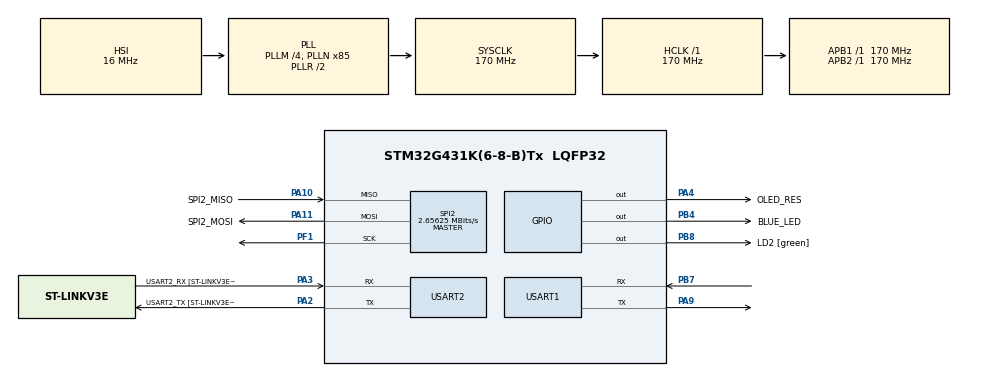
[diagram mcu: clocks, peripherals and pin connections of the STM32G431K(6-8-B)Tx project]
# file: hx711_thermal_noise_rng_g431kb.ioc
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Dma.Request0=SPI2_RX
Dma.Request1=SPI2_TX
Dma.SPI2_RX.0.Direction=DMA_PERIPH_TO_MEMORY
Dma.SPI2_RX.0.EventEnable=DISABLE
Dma.SPI2_RX.0.Instance=DMA1_Channel1
Dma.SPI2_RX.0.MemDataAlignment=DMA_MDATAALIGN_BYTE
Dma.SPI2_RX.0.MemInc=DMA_MINC_ENABLE
Dma.SPI2_RX.0.Mode=DMA_NORMAL
Dma.SPI2_RX.0.PeriphDataAlignment=DMA_PDATAALIGN_BYTE
Dma.SPI2_RX.0.PeriphInc=DMA_PINC_DISABLE
Dma.SPI2_RX.0.Polarity=HAL_DMAMUX_REQ_GEN_RISING
Dma.SPI2_RX.0.Priority=DMA_PRIORITY_LOW
Dma.SPI2_RX.0.RequestNumber=1
Dma.SPI2_RX.0.SignalID=NONE
Dma.SPI2_RX.0.SyncEnable=DISABLE
Dma.SPI2_RX.0.SyncPolarity=HAL_DMAMUX_SYNC_NO_EVENT
Dma.SPI2_RX.0.SyncRequestNumber=1
Dma.SPI2_RX.0.SyncSignalID=NONE
Dma.SPI2_TX.1.Direction=DMA_MEMORY_TO_PERIPH
Dma.SPI2_TX.1.EventEnable=DISABLE
Dma.SPI2_TX.1.Instance=DMA1_Channel2
Dma.SPI2_TX.1.MemDataAlignment=DMA_MDATAALIGN_BYTE
Dma.SPI2_TX.1.MemInc=DMA_MINC_ENABLE
Dma.SPI2_TX.1.Mode=DMA_NORMAL
Dma.SPI2_TX.1.PeriphDataAlignment=DMA_PDATAALIGN_BYTE
Dma.SPI2_TX.1.PeriphInc=DMA_PINC_DISABLE
Dma.SPI2_TX.1.Polarity=HAL_DMAMUX_REQ_GEN_RISING
Dma.SPI2_TX.1.Priority=DMA_PRIORITY_LOW
Dma.SPI2_TX.1.RequestNumber=1
Dma.SPI2_TX.1.SignalID=NONE
Dma.SPI2_TX.1.SyncEnable=DISABLE
Dma.SPI2_TX.1.SyncPolarity=HAL_DMAMUX_SYNC_NO_EVENT
Dma.SPI2_TX.1.SyncRequestNumber=1
Dma.SPI2_TX.1.SyncSignalID=NONE
Mcu.Family=STM32G4
Mcu.Name=STM32G431K(6-8-B)Tx
Mcu.Package=LQFP32
NVIC.DMA1_Channel1_IRQn=true\:0\:0\:false\:false\:true\:false\:true\:true
NVIC.DMA1_Channel2_IRQn=true\:0\:0\:false\:false\:true\:false\:true\:true
NVIC.PriorityGroup=NVIC_PRIORITYGROUP_4
NVIC.SPI2_IRQn=true\:0\:0\:false\:false\:true\:true\:true\:true
PA10.GPIO_Label=SPI2_MISO
PA10.Mode=Full_Duplex_Master
PA10.Signal=SPI2_MISO
PA11.GPIO_Label=SPI2_MOSI
PA11.Mode=Full_Duplex_Master
PA11.Signal=SPI2_MOSI
PA13.GPIO_Label=T_SWDIO
PA13.Mode=Serial_Wire
PA13.Signal=SYS_JTMS-SWDIO
PA14.GPIO_Label=T_SWCLK
PA14.Mode=Serial_Wire
PA14.Signal=SYS_JTCK-SWCLK
PA2.GPIO_Label=USART2_TX [ST-LINKV3E_VCP_RX]
PA2.Mode=Asynchronous
PA2.Signal=USART2_TX
PA3.GPIO_Label=USART2_RX [ST-LINKV3E_VCP_TX]
PA3.Mode=Asynchronous
PA3.Signal=USART2_RX
PA4.GPIO_Label=OLED_RES
PA4.Signal=GPIO_Output
PA9.Mode=Asynchronous
PA9.Signal=USART1_TX
PB3.GPIO_Label=T_SWO
PB3.Signal=SYS_JTDO-SWO
PB4.GPIO_Label=BLUE_LED
PB4.Signal=GPIO_Output
PB7.Mode=Asynchronous
PB7.Signal=USART1_RX
PB8-BOOT0.GPIO_Label=LD2 [green]
PB8-BOOT0.Signal=GPIO_Output
PF1-OSC_OUT.Mode=Full_Duplex_Master
PF1-OSC_OUT.Signal=SPI2_SCK
ProjectManager.HeapSize=0x200
ProjectManager.StackSize=0x400
ProjectManager.TargetToolchain=STM32CubeIDE
RCC.ADC12Freq_Value=170000000
RCC.AHBFreq_Value=170000000
RCC.APB1Freq_Value=170000000
RCC.APB1TimFreq_Value=170000000
RCC.APB2Freq_Value=170000000
RCC.APB2TimFreq_Value=170000000
RCC.CortexFreq_Value=170000000
RCC.EXTERNAL_CLOCK_VALUE=12288000
RCC.HCLKFreq_Value=170000000
RCC.HSE_VALUE=8000000
RCC.HSI48_VALUE=48000000
RCC.HSI_VALUE=16000000
RCC.LSE_VALUE=32768
RCC.PLLM=RCC_PLLM_DIV4
RCC.PLLN=85
RCC.SYSCLKFreq_VALUE=170000000
RCC.SYSCLKSource=RCC_SYSCLKSOURCE_PLLCLK
RCC.USBFreq_Value=170000000
RCC.VCOOutputFreq_Value=340000000
SPI2.BaudRatePrescaler=SPI_BAUDRATEPRESCALER_64
SPI2.CalculateBaudRate=2.65625 MBits/s
SPI2.DataSize=SPI_DATASIZE_8BIT
SPI2.Direction=SPI_DIRECTION_2LINES
SPI2.Mode=SPI_MODE_MASTER
SPI2.VirtualType=VM_MASTER
USART1.VirtualMode-Asynchronous=VM_ASYNC
USART2.VirtualMode-Asynchronous=VM_ASYNC
USART2.WordLength=WORDLENGTH_8B
VP_SYS_VS_DBSignals.Mode=DisableDeadBatterySignals
board=NUCLEO-G431KB

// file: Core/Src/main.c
/* USER CODE BEGIN Header */
/**
 ******************************************************************************
 * @file           : main.c
 * @brief          : Main program body
 ******************************************************************************
 * @attention
 *
 * Copyright (c) 2024 STMicroelectronics.
 * All rights reserved.
 *
 * This software is licensed under terms that can be found in the LICENSE file
 * in the root directory of this software component.
 * If no LICENSE file comes with this software, it is provided AS-IS.
 *
 ******************************************************************************
 */
/* USER CODE END Header */
#include "main.h"
#include "dma.h"
#include "spi.h"
#include "usart.h"
#include "gpio.h"

/* USER CODE BEGIN Includes */
#include <stdio.h>
#include <stdlib.h>
/* USER CODE END Includes */

/* USER CODE BEGIN PD */
#define BYTE_TO_BINARY(byte)  \
  (byte & 0x80 ? '1' : '0'), \
  (byte & 0x40 ? '1' : '0'), \
  (byte & 0x20 ? '1' : '0'), \
  (byte & 0x10 ? '1' : '0'), \
  (byte & 0x08 ? '1' : '0'), \
  (byte & 0x04 ? '1' : '0'), \
  (byte & 0x02 ? '1' : '0'), \
  (byte & 0x01 ? '1' : '0')

#define DEBUG_MESSAGE_PERIOD 1000
//#define DRAW_BELL_CURVE  // slows down rng
#define DEBUG_MESSAGE_UART &huart2

// No antenna attached
#define HISTOGRAM_OFFSET 1600
#define HISTOGRAM_BAR_WIDTH 8
// Antenna attached
//#define HISTOGRAM_OFFSET 380000
//#define HISTOGRAM_BAR_WIDTH 8000

#define HISTOGRAM_NUMBER_OF_BARS 32
#define HISTOGRAM_STAR_HEIGHT 32

#define NOT_TESTED_ENTROPY_EXTRACTOR
#define NUMBER_OF_LSB 4
#define RNG_STREAM_UART &huart1

/* USER CODE END PD */

/* USER CODE BEGIN PV */
uint8_t TxData[8] =
{ 0b0000000, 0x00000001, 0b01010101, 0b01010101, 0b01010101, 0b01010101,
		0b01010101, 0b01010101 };  // clock, 25 ticks
uint8_t RxData[8];
uint32_t adc_reading;
uint32_t adc_reading_previous;
uint32_t adc_reading_debug;

union
{
	uint32_t uint32_value;
	int32_t int32_value;
} uint2int_converter;

int32_t converted_reading;

uint8_t sensor_read_flag = 0;

uint8_t UartMessage[256];
uint16_t MessageLength;

uint32_t SoftTimerDebug;

uint32_t adc_histogram[HISTOGRAM_NUMBER_OF_BARS];
/* USER CODE END PV */

void SystemClock_Config(void);
/* USER CODE BEGIN PFP */

void BlueLedOn(void)
{
	HAL_GPIO_WritePin(BLUE_LED_GPIO_Port, BLUE_LED_Pin, GPIO_PIN_SET);
}

void BlueLedOff(void)
{
	HAL_GPIO_WritePin(BLUE_LED_GPIO_Port, BLUE_LED_Pin, GPIO_PIN_RESET);
}

uint32_t DecodeRawSpiReading(void)
{
	return (((uint32_t) (RxData[7] & 0b00000010)) >> 1)
			| (((uint32_t) (RxData[7] & 0b00001000)) >> 2)
			| (((uint32_t) (RxData[7] & 0b00100000)) >> 3)
			| (((uint32_t) (RxData[7] & 0b10000000)) >> 4)
			| (((uint32_t) (RxData[6] & 0b00000010)) << 3)
			| (((uint32_t) (RxData[6] & 0b00001000)) << 2)
			| (((uint32_t) (RxData[6] & 0b00100000)) << 1)
			| (((uint32_t) (RxData[6] & 0b10000000)) << 0) |

			(((uint32_t) (RxData[5] & 0b00000010)) << 7)
			| (((uint32_t) (RxData[5] & 0b00001000)) << 6)
			| (((uint32_t) (RxData[5] & 0b00100000)) << 5)
			| (((uint32_t) (RxData[5] & 0b10000000)) << 4)
			| (((uint32_t) (RxData[4] & 0b00000010)) << 11)
			| (((uint32_t) (RxData[4] & 0b00001000)) << 10)
			| (((uint32_t) (RxData[4] & 0b00100000)) << 9)
			| (((uint32_t) (RxData[4] & 0b10000000)) << 8) |

			(((uint32_t) (RxData[3] & 0b00000010)) << 15)
			| (((uint32_t) (RxData[3] & 0b00001000)) << 14)
			| (((uint32_t) (RxData[3] & 0b00100000)) << 13)
			| (((uint32_t) (RxData[3] & 0b10000000)) << 12)
			| (((uint32_t) (RxData[2] & 0b00000010)) << 19)
			| (((uint32_t) (RxData[2] & 0b00001000)) << 18)
			| (((uint32_t) (RxData[2] & 0b00100000)) << 17)
			| (((uint32_t) (RxData[2] & 0b10000000)) << 16) |

			(((uint32_t) (RxData[1] & 0b00000010)) << 23)
			| (((uint32_t) (RxData[1] & 0b00001000)) << 22)
			| (((uint32_t) (RxData[1] & 0b00100000)) << 21)
			| (((uint32_t) (RxData[1] & 0b10000000)) << 20);
}
/* USER CODE END PFP */

int main(void)
{

	/* MCU Configuration--------------------------------------------------------*/

	/* Reset of all peripherals, Initializes the Flash interface and the Systick. */
	HAL_Init();

	/* Configure the system clock */
	SystemClock_Config();

	/* Initialize all configured peripherals */
	MX_GPIO_Init();
	MX_DMA_Init();
	MX_USART2_UART_Init();
	MX_SPI2_Init();
	MX_USART1_UART_Init();
	/* USER CODE BEGIN 2 */
	SoftTimerDebug = HAL_GetTick();
	HAL_SPI_TransmitReceive_DMA(&hspi2, (uint8_t*) (&TxData),
			(uint8_t*) (&RxData), sizeof(TxData));
	/* USER CODE END 2 */

	/* Infinite loop */
	/* USER CODE BEGIN WHILE */
	while (1)
	{

		if (((HAL_GetTick() - SoftTimerDebug) > DEBUG_MESSAGE_PERIOD))
		{
			BlueLedOn();
			SoftTimerDebug = HAL_GetTick();

			MessageLength =
					sprintf((char*) UartMessage,
							"\r\nHX711 SPI reading: 0b %c%c%c%c%c%c%c%c %c%c%c%c%c%c%c%c %c%c%c%c%c%c%c%c %c%c%c%c%c%c%c%c %c%c%c%c%c%c%c%c %c%c%c%c%c%c%c%c %c%c%c%c%c%c%c%c %c%c%c%c%c%c%c%c \r\n",
							BYTE_TO_BINARY(RxData[0]),
							BYTE_TO_BINARY(RxData[1]),
							BYTE_TO_BINARY(RxData[2]),
							BYTE_TO_BINARY(RxData[3]),
							BYTE_TO_BINARY(RxData[4]),
							BYTE_TO_BINARY(RxData[5]),
							BYTE_TO_BINARY(RxData[6]), BYTE_TO_BINARY(RxData[7])
							);
			HAL_UART_Transmit(DEBUG_MESSAGE_UART, UartMessage, MessageLength,
					100);

			adc_reading_debug = DecodeRawSpiReading();
			MessageLength =
					sprintf((char*) UartMessage,
							"HX711 ADC reading: 0b %c%c%c%c%c%c%c%c %c%c%c%c%c%c%c%c %c%c%c%c%c%c%c%c\r\n\r\n",
							BYTE_TO_BINARY((uint8_t )(adc_reading_debug >> 16)),
							BYTE_TO_BINARY((uint8_t )(adc_reading_debug >> 8)),
							BYTE_TO_BINARY((uint8_t )adc_reading_debug));
			HAL_UART_Transmit(DEBUG_MESSAGE_UART, UartMessage, MessageLength,
					100);

#ifdef DRAW_BELL_CURVE
			for (int i = 0; i < HISTOGRAM_NUMBER_OF_BARS; i++)
			{
				MessageLength = sprintf((char*) UartMessage, "[%02d] ", i);
				HAL_UART_Transmit(DEBUG_MESSAGE_UART, UartMessage,
						MessageLength, 100);
				for (int j = 0; j < adc_histogram[i] / HISTOGRAM_STAR_HEIGHT;
						j++)
				{
					HAL_UART_Transmit(DEBUG_MESSAGE_UART, (uint8_t*) "*",
							sizeof("*"), 100);
				}
				MessageLength = sprintf((char*) UartMessage, " (%lu)\r\n",
						adc_histogram[i]);
				HAL_UART_Transmit(DEBUG_MESSAGE_UART, UartMessage,
						MessageLength, 100);
			}
#endif
			BlueLedOff();
		}

		if ((sensor_read_flag == 1)
				&& (HAL_GPIO_ReadPin(SPI2_MISO_GPIO_Port, SPI2_MISO_Pin)
						== GPIO_PIN_RESET))
		{
			sensor_read_flag = 0;
			adc_reading_previous = adc_reading;
			adc_reading = DecodeRawSpiReading();

#ifdef NOT_TESTED_ENTROPY_EXTRACTOR
			for (uint8_t i = 0; i < NUMBER_OF_LSB; i++)
			{
				if (((adc_reading >> i) & 0x00000001) == 1)
				{
					uint8_t bit1 = '1';
					HAL_UART_Transmit(RNG_STREAM_UART, &bit1, 1, 10);
				}
				else
				{
					uint8_t bit0 = '0';
					HAL_UART_Transmit(RNG_STREAM_UART, &bit0, 1, 10);
				}
			}
#else
			if (__builtin_parity(adc_reading))
			{
				uint8_t bit1 = '1';
				HAL_UART_Transmit(RNG_STREAM_UART, &bit1, 1, 10);
			}
			else
			{
				uint8_t bit0 = '0';
				HAL_UART_Transmit(RNG_STREAM_UART, &bit0, 1, 10);
			}
#endif

			if (adc_reading == adc_reading_previous)
			{
				MessageLength = sprintf((char*) UartMessage,
						"Duplicated in a row.\r\n");
				HAL_UART_Transmit(DEBUG_MESSAGE_UART, UartMessage,
						MessageLength, 100);
			}

			uint2int_converter.uint32_value = adc_reading << 8; // 24-bit two's complement in 32-bit variable
			converted_reading = uint2int_converter.int32_value / 256;

#ifdef DRAW_BELL_CURVE
			if (((converted_reading - HISTOGRAM_OFFSET) / HISTOGRAM_BAR_WIDTH
					>= 0)
					&& ((converted_reading - HISTOGRAM_OFFSET)
							/ HISTOGRAM_BAR_WIDTH < HISTOGRAM_NUMBER_OF_BARS))
			{
				adc_histogram[(converted_reading - HISTOGRAM_OFFSET)
						/ HISTOGRAM_BAR_WIDTH] += 1;
			}
#endif

			HAL_Delay(13);  // 1/80 = 12.5 ms
			HAL_SPI_TransmitReceive_DMA(&hspi2, (uint8_t*) (&TxData),
					(uint8_t*) (&RxData), sizeof(TxData));

		}
		/* USER CODE END WHILE */

	}
}

void SystemClock_Config(void)
{
	RCC_OscInitTypeDef RCC_OscInitStruct =
	{ 0 };
	RCC_ClkInitTypeDef RCC_ClkInitStruct =
	{ 0 };

	/** Configure the main internal regulator output voltage
	 */
	HAL_PWREx_ControlVoltageScaling(PWR_REGULATOR_VOLTAGE_SCALE1_BOOST);

	/** Initializes the RCC Oscillators according to the specified parameters
	 * in the RCC_OscInitTypeDef structure.
	 */
	RCC_OscInitStruct.OscillatorType = RCC_OSCILLATORTYPE_HSI;
	RCC_OscInitStruct.HSIState = RCC_HSI_ON;
	RCC_OscInitStruct.HSICalibrationValue = RCC_HSICALIBRATION_DEFAULT;
	RCC_OscInitStruct.PLL.PLLState = RCC_PLL_ON;
	RCC_OscInitStruct.PLL.PLLSource = RCC_PLLSOURCE_HSI;
	RCC_OscInitStruct.PLL.PLLM = RCC_PLLM_DIV4;
	RCC_OscInitStruct.PLL.PLLN = 85;
	RCC_OscInitStruct.PLL.PLLP = RCC_PLLP_DIV2;
	RCC_OscInitStruct.PLL.PLLQ = RCC_PLLQ_DIV2;
	RCC_OscInitStruct.PLL.PLLR = RCC_PLLR_DIV2;
	if (HAL_RCC_OscConfig(&RCC_OscInitStruct) != HAL_OK)
	{
		Error_Handler();
	}

	/** Initializes the CPU, AHB and APB buses clocks
	 */
	RCC_ClkInitStruct.ClockType = RCC_CLOCKTYPE_HCLK | RCC_CLOCKTYPE_SYSCLK
			| RCC_CLOCKTYPE_PCLK1 | RCC_CLOCKTYPE_PCLK2;
	RCC_ClkInitStruct.SYSCLKSource = RCC_SYSCLKSOURCE_PLLCLK;
	RCC_ClkInitStruct.AHBCLKDivider = RCC_SYSCLK_DIV1;
	RCC_ClkInitStruct.APB1CLKDivider = RCC_HCLK_DIV1;
	RCC_ClkInitStruct.APB2CLKDivider = RCC_HCLK_DIV1;

	if (HAL_RCC_ClockConfig(&RCC_ClkInitStruct, FLASH_LATENCY_4) != HAL_OK)
	{
		Error_Handler();
	}
}

/* USER CODE BEGIN 4 */
void HAL_SPI_TxRxCpltCallback(SPI_HandleTypeDef *hspi)
{
	if (hspi->Instance == SPI2)
	{
		sensor_read_flag = 1;
	}
}
/* USER CODE END 4 */

void Error_Handler(void)
{
	__disable_irq();
	while (1)
	{
	}
}
